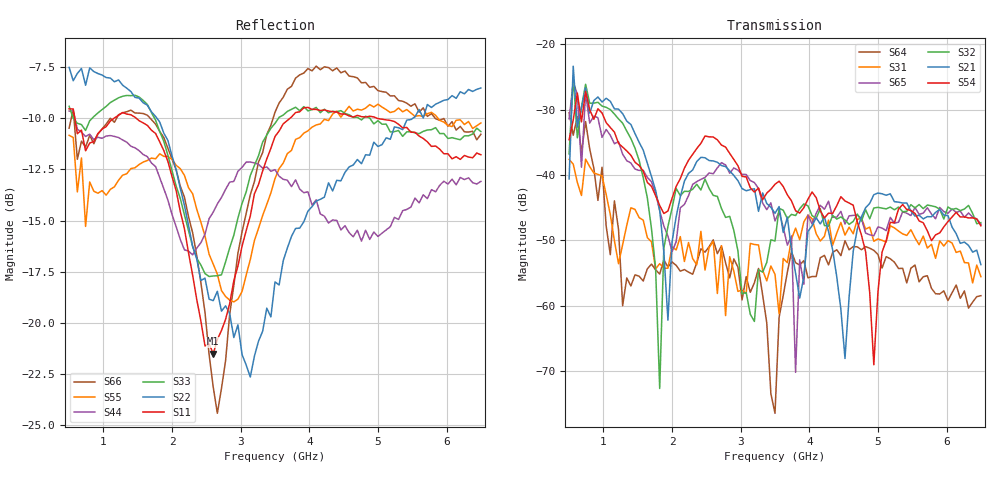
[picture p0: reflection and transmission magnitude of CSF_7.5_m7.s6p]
!Keysight Technologies,M9804A,MY58100912,A.14.10.03
!Date: Thursday, April 27, 2023 10:28:33
!Correction: S11(C  6-Port  )
!S12(C  6-Port  )
!S13(C  6-Port  )
!S14(C  6-Port  )
!S15(C  6-Port  )
!S16(C  6-Port  )
!S21(C  6-Port  )
!S22(C  6-Port  )
!S23(C  6-Port  )
!S24(C  6-Port  )
!S25(C  6-Port  )
!S26(C  6-Port  )
!S31(C  6-Port  )
!S32(C  6-Port  )
!S33(C  6-Port  )
!S34(C  6-Port  )
!S35(C  6-Port  )
!S36(C  6-Port  )
!S41(C  6-Port  )
!S42(C  6-Port  )
!S43(C  6-Port  )
!S44(C  6-Port  )
!S45(C  6-Port  )
!S46(C  6-Port  )
!S51(C  6-Port  )
!S52(C  6-Port  )
!S53(C  6-Port  )
!S54(C  6-Port  )
!S55(C  6-Port  )
!S56(C  6-Port  )
!S61(C  6-Port  )
!S62(C  6-Port  )
!S63(C  6-Port  )
!S64(C  6-Port  )
!S65(C  6-Port  )
!S66(C  6-Port  )
!S6P File: Measurement: :
# Hz S  RI  R 50
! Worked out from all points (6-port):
!   101 points, 500 MHz to 6.5 GHz, reference 50 ohm
!   strongest paths, dB at 500 MHz, 2 GHz, 3.5 GHz, 5 GHz, 6.5 GHz:
!     S54: -34.6, -43.6, -41.4, -57.9, -47.8
!     S21: -40.6, -50.2, -45.9, -42.8, -53.7
!     S32: -36.8, -45.1, -50.1, -44.9, -47.3
!     S65: -31.4, -51.7, -47.0, -47.9, -47.5
!     S31: -37.6, -51.0, -55.2, -49.8, -55.5
!     S64: -30.5, -53.3, -76.4, -52.1, -58.4
!   lowest |S11| = -21.5 dB at 2.6 GHz (marker M1), VSWR 1.18, Z = 42.5 + j1.94 ohm
!   |S11| at or under -10 dB: 582.5 MHz to 1.153 GHz (570.9 MHz wide, 65.8 % of centre); 1.478 GHz to 3.718 GHz (2.24 GHz wide, 86.2 % of centre); 4.988 GHz to end of sweep
